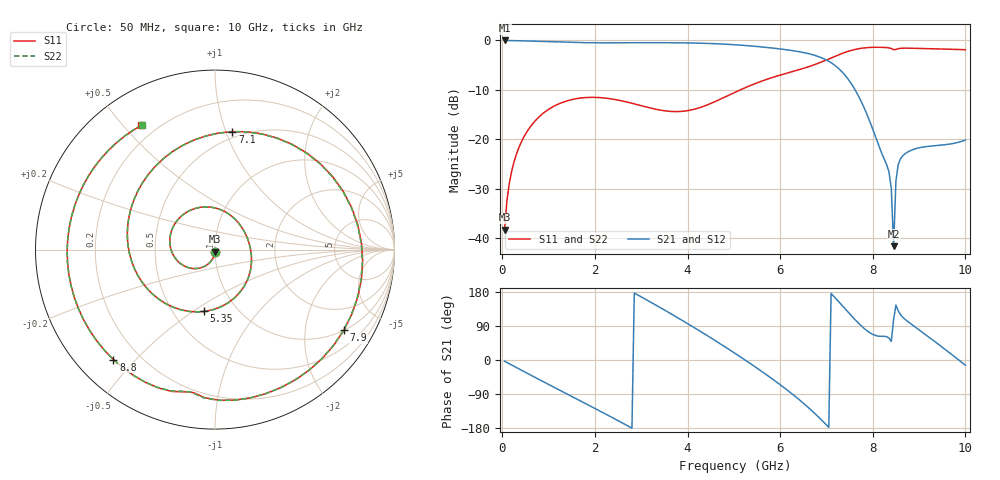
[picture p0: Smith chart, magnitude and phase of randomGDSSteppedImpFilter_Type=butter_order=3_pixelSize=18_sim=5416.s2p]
! freq	dB(S11)	phase(S11)	dB(S12)	phase(S12)
!  dB(S21)	phase(S21)	dB(S22)	phase(S22)
!S-par simulation data
#  GHz  S  DB  R 50
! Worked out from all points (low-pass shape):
!   200 points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, 50 MHz to 10 GHz, reference 50 ohm
!   highest |S21| = -0.01 dB at 50 MHz (marker M1); lowest = -41.6 dB at 8.45 GHz (marker M2)
!   |S21| within 3 dB of the highest: start of sweep to 6.746 GHz
!   lowest |S11| = -38.2 dB at 50 MHz (marker M3), VSWR 1.02, Z = 50 - j1.23 ohm
!   |S11| at or under -10 dB: start of sweep to 5.137 GHz
!   |S22| runs from -38.2 to -1.4 dB; largest |S21 - S12| = 0
!   S11 on the Smith chart (normalised r, x): 50 MHz: 1.00, -0.02; 5.35 GHz: 0.71, -0.55; 7.1 GHz: 0.45, +1.05; 7.9 GHz: 1.01, -3.19; 8.8 GHz: 0.11, -0.43; 10 GHz: 0.14, +0.56
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0.05  -38.22 -91.0  -0.01 -3.3  -0.01 -3.3  -38.22 -91.0
0.2  -26.52 -102.8  -0.03 -13.1  -0.03 -13.1  -26.52 -102.8
0.5  -18.94 -122.9  -0.10 -32.6  -0.10 -32.6  -18.94 -123.0
1.15  -13.12 -164.6  -0.31 -74.1  -0.31 -74.1  -13.12 -164.7
1.75  -11.58 157.5  -0.45 -111.9  -0.45 -111.9  -11.58 157.5
2.65  -12.35 99.7  -0.48 -169.9  -0.48 -169.9  -12.36 99.7
3.4  -14.06 48.8  -0.46 139.0  -0.46 139.0  -14.07 48.9
4.2  -13.76 -9.2  -0.55 81.3  -0.55 81.3  -13.77 -8.6
5.05  -10.37 -75.3  -0.89 15.6  -0.89 15.6  -10.37 -74.5
5.35  -9.14 -100.0  -1.11 -8.9  -1.11 -8.9  -9.14 -99.2
6.1  -6.74 -166.3  -1.84 -74.4  -1.84 -74.4  -6.74 -165.6
6.7  -5.04 131.5  -2.88 -135.6  -2.88 -135.6  -5.05 131.8
7.1  -3.55 81.6  -4.51 175.8  -4.51 175.8  -3.56 81.4
7.55  -1.98 17.4  -8.94 115.2  -8.94 115.2  -1.99 16.7
7.9  -1.44 -32.0  -15.53 75.1  -15.53 75.1  -1.45 -32.9
8.35  -1.51 -88.1  -26.55 57.8  -26.55 57.8  -1.52 -89.1
8.45  -1.87 -98.5  -41.56 106.5  -41.56 106.5  -1.88 -99.5
8.5  -1.83 -101.9  -28.38 145.0  -28.38 145.0  -1.84 -102.8
8.55  -1.66 -106.8  -25.06 129.6  -25.06 129.6  -1.67 -107.7
8.8  -1.58 -132.7  -22.31 97.5  -22.31 97.5  -1.58 -133.6
9.35  -1.70 176.1  -21.26 47.8  -21.26 47.8  -1.69 175.5
10  -1.89 120.7  -20.12 -13.8  -20.12 -13.8  -1.88 120.3
